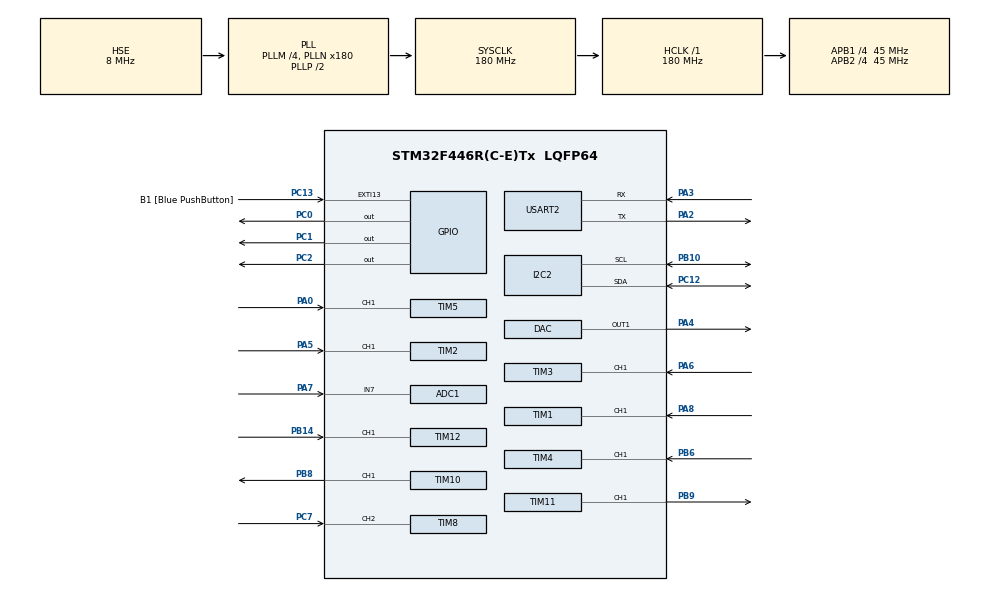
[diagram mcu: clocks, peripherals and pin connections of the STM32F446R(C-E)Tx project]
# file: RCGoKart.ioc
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ADC1.Channel-3\#ChannelRegularConversion=ADC_CHANNEL_7
ADC1.ContinuousConvMode=ENABLE
ADC1.DMAContinuousRequests=ENABLE
ADC1.NbrOfConversion=1
ADC1.NbrOfConversionFlag=1
ADC1.Rank-3\#ChannelRegularConversion=1
ADC1.SamplingTime-3\#ChannelRegularConversion=ADC_SAMPLETIME_3CYCLES
ADC1.ScanConvMode=ENABLE
ADC1.master=1
Dma.ADC1.0.Direction=DMA_PERIPH_TO_MEMORY
Dma.ADC1.0.FIFOMode=DMA_FIFOMODE_DISABLE
Dma.ADC1.0.Instance=DMA2_Stream0
Dma.ADC1.0.MemDataAlignment=DMA_MDATAALIGN_HALFWORD
Dma.ADC1.0.MemInc=DMA_MINC_ENABLE
Dma.ADC1.0.Mode=DMA_CIRCULAR
Dma.ADC1.0.PeriphDataAlignment=DMA_PDATAALIGN_HALFWORD
Dma.ADC1.0.PeriphInc=DMA_PINC_DISABLE
Dma.ADC1.0.Priority=DMA_PRIORITY_LOW
Dma.Request0=ADC1
Mcu.Family=STM32F4
Mcu.Name=STM32F446R(C-E)Tx
Mcu.Package=LQFP64
NVIC.ADC_IRQn=true\:0\:0\:false\:false\:true\:true\:true\:true
NVIC.DMA2_Stream0_IRQn=true\:0\:0\:false\:false\:true\:false\:true\:true
NVIC.PriorityGroup=NVIC_PRIORITYGROUP_0
NVIC.TIM2_IRQn=true\:0\:0\:false\:false\:true\:true\:true\:true
NVIC.TIM3_IRQn=true\:0\:0\:false\:false\:true\:true\:true\:true
PA0-WKUP.Signal=S_TIM5_CH1
PA13.GPIO_Label=TMS
PA13.Mode=Serial_Wire
PA13.Signal=SYS_JTMS-SWDIO
PA14.GPIO_Label=TCK
PA14.Mode=Serial_Wire
PA14.Signal=SYS_JTCK-SWCLK
PA2.Mode=Asynchronous
PA2.Signal=USART2_TX
PA3.Mode=Asynchronous
PA3.Signal=USART2_RX
PA4.Signal=COMP_DAC1_group
PA5.Signal=S_TIM2_CH1_ETR
PA6.Signal=S_TIM3_CH1
PA7.Signal=ADCx_IN7
PA8.Signal=S_TIM1_CH1
PB10.Mode=I2C
PB10.Signal=I2C2_SCL
PB14.Signal=S_TIM12_CH1
PB3.GPIO_Label=SWO
PB3.Signal=SYS_JTDO-SWO
PB6.Signal=S_TIM4_CH1
PB8.Signal=S_TIM10_CH1
PB9.Signal=S_TIM11_CH1
PC0.GPIO_Speed=GPIO_SPEED_FREQ_VERY_HIGH
PC0.Signal=GPIO_Output
PC1.GPIO_Speed=GPIO_SPEED_FREQ_VERY_HIGH
PC1.Signal=GPIO_Output
PC12.Mode=I2C
PC12.Signal=I2C2_SDA
PC13.GPIO_Label=B1 [Blue PushButton]
PC13.GPIO_ModeDefaultEXTI=GPIO_MODE_IT_FALLING
PC13.Signal=GPXTI13
PC14-OSC32_IN.Mode=LSE-External-Oscillator
PC14-OSC32_IN.Signal=RCC_OSC32_IN
PC15-OSC32_OUT.Mode=LSE-External-Oscillator
PC15-OSC32_OUT.Signal=RCC_OSC32_OUT
PC2.GPIO_Speed=GPIO_SPEED_FREQ_VERY_HIGH
PC2.Signal=GPIO_Output
PC7.Signal=S_TIM8_CH2
PH0-OSC_IN.Mode=HSE-External-Oscillator
PH0-OSC_IN.Signal=RCC_OSC_IN
PH1-OSC_OUT.Mode=HSE-External-Oscillator
PH1-OSC_OUT.Signal=RCC_OSC_OUT
ProjectManager.HeapSize=0x200
ProjectManager.StackSize=0x400
ProjectManager.TargetToolchain=STM32CubeIDE
RCC.48MHZClocksFreq_Value=84000000
RCC.AHBFreq_Value=180000000
RCC.APB1CLKDivider=RCC_HCLK_DIV4
RCC.APB1Freq_Value=45000000
RCC.APB1TimFreq_Value=90000000
RCC.APB2CLKDivider=RCC_HCLK_DIV4
RCC.APB2Freq_Value=45000000
RCC.APB2TimFreq_Value=90000000
RCC.CortexFreq_Value=180000000
RCC.FLatency-AdvancedSettings=FLASH_LATENCY_5
RCC.HCLKFreq_Value=180000000
RCC.HSE_VALUE=8000000
RCC.HSI_VALUE=16000000
RCC.PLLM=4
RCC.PLLN=180
RCC.PLLSourceVirtual=RCC_PLLSOURCE_HSE
RCC.SYSCLKFreq_VALUE=180000000
RCC.SYSCLKSource=RCC_SYSCLKSOURCE_PLLCLK
RCC.USBFreq_Value=180000000
RCC.VCOOutputFreq_Value=360000000
SH.ADCx_IN7.0=ADC1_IN7,IN7
SH.COMP_DAC1_group.0=DAC_OUT1,DAC_OUT1
SH.S_TIM10_CH1.0=TIM10_CH1,PWM Generation1 CH1
SH.S_TIM11_CH1.0=TIM11_CH1,PWM Generation1 CH1
SH.S_TIM12_CH1.0=TIM12_CH1,PWM_Input_1
SH.S_TIM1_CH1.0=TIM1_CH1,PWM_Input_1
SH.S_TIM2_CH1_ETR.0=TIM2_CH1,PWM_Input_1
SH.S_TIM3_CH1.0=TIM3_CH1,PWM_Input_1
SH.S_TIM4_CH1.0=TIM4_CH1,PWM_Input_1
SH.S_TIM5_CH1.0=TIM5_CH1,PWM_Input_1
SH.S_TIM8_CH2.0=TIM8_CH2,PWM_Input_2
TIM10.Channel=TIM_CHANNEL_1
TIM10.Period=1800-1
TIM10.Prescaler=999
TIM11.Channel=TIM_CHANNEL_1
TIM11.Period=1800-1
TIM12.ClockDivision=TIM_CLOCKDIVISION_DIV2
TIM12.Prescaler=16
TIM3.ClockDivision=TIM_CLOCKDIVISION_DIV1
TIM3.ICFilter_2=0
TIM3.Period=65535
TIM3.Prescaler=0
USART2.VirtualMode=VM_ASYNC
VP_RTC_VS_RTC_Activate.Mode=RTC_Enabled
VP_RTC_VS_RTC_WakeUp_intern.Mode=WakeUp
VP_TIM10_VS_ClockSourceINT.Mode=Enable_Timer
VP_TIM11_VS_ClockSourceINT.Mode=Enable_Timer
VP_TIM12_VS_ClockSourceINT.Mode=Internal
VP_TIM1_VS_ClockSourceINT.Mode=Internal
VP_TIM2_VS_ClockSourceINT.Mode=Internal
VP_TIM3_VS_ClockSourceINT.Mode=Internal
VP_TIM4_VS_ClockSourceINT.Mode=Internal
VP_TIM5_VS_ClockSourceINT.Mode=Internal
VP_TIM8_VS_ClockSourceINT.Mode=Internal
board=NUCLEO-F446RE

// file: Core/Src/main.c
/* USER CODE BEGIN Header */
/**
  ******************************************************************************
  * @file           : main.c
  * @brief          : Main program body
  ******************************************************************************
  * @attention
  *
  * Copyright (c) 2023 STMicroelectronics.
  * All rights reserved.
  *
  * This software is licensed under terms that can be found in the LICENSE file
  * in the root directory of this software component.
  * If no LICENSE file comes with this software, it is provided AS-IS.
  *
  ******************************************************************************
  */
/* USER CODE END Header */
#include "main.h"

/* USER CODE BEGIN Includes */
#include <stdio.h>
#include <stdbool.h>
/* USER CODE END Includes */

/* USER CODE BEGIN PD */

#define PUTCHAR_PROTOTYPE int __io_putchar(int ch)
/* USER CODE END PD */

ADC_HandleTypeDef hadc1;
DMA_HandleTypeDef hdma_adc1;

DAC_HandleTypeDef hdac;

I2C_HandleTypeDef hi2c2;

RTC_HandleTypeDef hrtc;

TIM_HandleTypeDef htim1;
TIM_HandleTypeDef htim2;
TIM_HandleTypeDef htim3;
TIM_HandleTypeDef htim4;
TIM_HandleTypeDef htim5;
TIM_HandleTypeDef htim8;
TIM_HandleTypeDef htim10;
TIM_HandleTypeDef htim11;
TIM_HandleTypeDef htim12;

UART_HandleTypeDef huart2;

/* USER CODE BEGIN PV */

const float kSteeringEncoderMax = 43000.0;
const float kSteeringEncoderMin = 14000.0;
const float kSteeringEncoderRange = 64000.0;

const int maxEncoderAngle = 347;
const int minEncoderAngle = 167;
const int EncoderRange = maxEncoderAngle-minEncoderAngle;//180

const double kOffset = .45;

float kHalDelay = 1;

float maxSpeed = .25;//Range from 0 to 1

//TODO: convert to const once tuned
float kPInverse = 20;
float kP = 0.025;//1/20
float kI = 0.0000001;
float kD = 1;

float error;
float derivative;
float integral = 0;
float pos = 0;
float pastError = 0;
float minError = 0.1;

uint32_t brakePosition = 0;
uint32_t buffer = 0;
/* USER CODE END PV */

void SystemClock_Config(void);
static void MX_GPIO_Init(void);
static void MX_DMA_Init(void);
static void MX_ADC1_Init(void);
static void MX_TIM1_Init(void);
static void MX_TIM2_Init(void);
static void MX_TIM3_Init(void);
static void MX_TIM4_Init(void);
static void MX_TIM5_Init(void);
static void MX_TIM8_Init(void);
static void MX_TIM10_Init(void);
static void MX_TIM11_Init(void);
static void MX_TIM12_Init(void);
static void MX_RTC_Init(void);
static void MX_I2C2_Init(void);
static void MX_USART2_UART_Init(void);
static void MX_DAC_Init(void);

/* USER CODE BEGIN 0 */

uint32_t ICValue = 0;
uint32_t Frequency = 0;
float Duty = 0;
void HAL_TIM_IC_CaptureCallback(TIM_HandleTypeDef *htim)
{
	if (htim->Channel == HAL_TIM_ACTIVE_CHANNEL_1)  // If the interrupt is triggered by channel 1
	{
		// Read the IC value
		ICValue = HAL_TIM_ReadCapturedValue(htim, TIM_CHANNEL_1);

		if (ICValue != 0)
		{
			// calculate the Duty Cycle
			Duty = (HAL_TIM_ReadCapturedValue(htim, TIM_CHANNEL_2) *100)/ICValue;

			Frequency = 90000000/ICValue;
		}
	}
}

float currentSteeringInputMax = 177900;
float currentSteeringInputMin = 90000;
float currentDrivingInputMax = 8935;
float currentDrivingInputMin = 7935;

const float steeringInputAbsoluteMax = 180000;
const float steeringInputAbsoluteMin = 80000;
const float drivingInputAbsoluteMax = 180000;
const float drivingInputAbsoluteMin = 80000;

uint16_t targetBrake = 4095;

float steeringInput(uint32_t rawSteeringInput){
	if(rawSteeringInput > currentSteeringInputMax && rawSteeringInput < steeringInputAbsoluteMax){
		currentSteeringInputMax = rawSteeringInput;
	}
	if(rawSteeringInput < currentSteeringInputMin && rawSteeringInput > steeringInputAbsoluteMin){
		currentSteeringInputMin = rawSteeringInput;
	}
	return (float)(rawSteeringInput-currentSteeringInputMin)/(currentSteeringInputMax-currentSteeringInputMin);
}

float drivingInput(uint32_t rawDrivingInput){
	if(rawDrivingInput > currentDrivingInputMax && rawDrivingInput < drivingInputAbsoluteMax){
		currentDrivingInputMax = rawDrivingInput;
	}
	if(rawDrivingInput < currentDrivingInputMin && rawDrivingInput > drivingInputAbsoluteMin){
		return 0.0;
	}
	return (float)(rawDrivingInput-currentDrivingInputMin)/(currentDrivingInputMax-currentDrivingInputMin);
}

//TODO: Yet to be tested:
float getPIDPower(float currentPosition, float requestPosition, float cycleTime){//New version:
	if(currentPosition<110){
		currentPosition = currentPosition+360;
	}
	error = requestPosition-currentPosition;
	if((error>minError||-minError>error)||(pastError>minError||-minError>pastError)){
		integral = integral + (error * cycleTime);
		derivative = (error-pastError)/cycleTime;
		pastError = error;
		pos = kP*error+kI*integral+kD*derivative+kOffset;
		if(pos>1){
			return 1;
		}
		else if(pos<0){
			return 0;
		}
		else{
			return pos;
		}
	}
	else{
		integral = 0;
		return .5;
	}
}

float getEncoderAngle(){
	return (((int)(36000*((TIM3->CCR2-kSteeringEncoderMin)/(kSteeringEncoderRange)))+18000)%36000)/100;
}

float rawSteeringToAngle(float steerInput){
	return (steerInput*EncoderRange)+minEncoderAngle;
}
float steerout = 0;
float steeroutp = 0;

/**
 * Sets the steering motor's power
 */
void setSteeringMotor(float power){
		steeroutp = power;
		float out = (power)*180.0;//Converts the range 0 to 1, to 90 to 180 //Dont ask why its that range it just works
		steerout = out;
		TIM10->CCR1 = out+45.0;
}
/**
 * Sets the driving motor's power
 */
void setDrivingMotor(float power){
	short int out = (power)*4096;//convert to 3.3v range
	o = out;
	if(power<=0){
		 HAL_DAC_SetValue(&hdac, DAC_CHANNEL_1,
		 DAC_ALIGN_12B_R, 0);//Motor off
	}
	else{
		 HAL_DAC_SetValue(&hdac, DAC_CHANNEL_1,
		 DAC_ALIGN_12B_R, out);//Motor on
	}
}

void setMotor(float power){//0 to 1.0
		 HAL_DAC_SetValue(&hdac, DAC_CHANNEL_1,
		 DAC_ALIGN_12B_R, power);
}

short int bstate = 0;
/**
 * Sets the brake motors power
 */
void setBrakes(){
    HAL_ADC_Start(&hadc1);
    HAL_ADC_PollForConversion(&hadc1, 500);
	brakePosition = HAL_ADC_GetValue(&hadc1);
    HAL_ADC_Stop(&hadc1);
	bstate = 0;
	if(brakePosition+5>targetBrake&&brakePosition-5<targetBrake){
		HAL_GPIO_WritePin(GPIOC, GPIO_PIN_2, GPIO_PIN_RESET);
		HAL_GPIO_WritePin(GPIOC, GPIO_PIN_1, GPIO_PIN_RESET);
		bstate = 2;
	}
	else if(brakePosition>targetBrake){
		HAL_GPIO_WritePin(GPIOC, GPIO_PIN_2, GPIO_PIN_SET);
		HAL_GPIO_WritePin(GPIOC, GPIO_PIN_1, GPIO_PIN_RESET);
		bstate = 0;
	}
	else if(brakePosition<targetBrake-100){
		HAL_GPIO_WritePin(GPIOC, GPIO_PIN_2, GPIO_PIN_RESET);
		HAL_GPIO_WritePin(GPIOC, GPIO_PIN_1, GPIO_PIN_SET);
		bstate = 1;
	}
	else{
		HAL_GPIO_WritePin(GPIOC, GPIO_PIN_2, GPIO_PIN_RESET);
		HAL_GPIO_WritePin(GPIOC, GPIO_PIN_1, GPIO_PIN_RESET);
		bstate = 2;
	}
}

void setBrakeTarget(int request){
	if(request>7935){
		targetBrake = 4095;
	}
	else{
		targetBrake = ((request-5300)*.093)+3850;
	}
	if(targetBrake < 3850){
		targetBrake  = 3850;
	}
}

float tim1 = 0;
float tim2 = 0;
float tim3 = 0;
float tim4 = 0;
float tim5 = 0;
float tim6 = 0;
float tim7 = 0;
float tim8 = 0;
float tim9 = 0;
float tim10 = 0;
float tim11 = 0;
float tim12 = 0;
float a = 0;
float b = 0;
int cycle = 0;
int cycleCount = 5;
uint32_t steeringRequest = (steeringInputAbsoluteMin+steeringInputAbsoluteMax/2);
uint32_t drivingRequest = 0;
/* USER CODE END 0 */

int main(void)
{
  /* USER CODE BEGIN 1 */
	hdac.State = HAL_DAC_STATE_RESET;
  /* USER CODE END 1 */

  /* MCU Configuration--------------------------------------------------------*/

  /* Reset of all peripherals, Initializes the Flash interface and the Systick. */
  HAL_Init();

  /* USER CODE BEGIN Init */
  uint16_t pwmBottomState = 5000;
  uint16_t pwmLowState = 25000;
  uint16_t pwmHighState = 45000;
  /* USER CODE END Init */

  /* Configure the system clock */
  SystemClock_Config();

  /* USER CODE BEGIN SysInit */
//  RCC->AHB1ENR |= (1<<0);
  /* USER CODE END SysInit */

  /* Initialize all configured peripherals */
  MX_GPIO_Init();
  MX_DMA_Init();
  MX_ADC1_Init();
  MX_TIM1_Init();
  MX_TIM2_Init();
  MX_TIM3_Init();
  MX_TIM4_Init();
  MX_TIM5_Init();
  MX_TIM8_Init();
  MX_TIM10_Init();
  MX_TIM11_Init();
  MX_TIM12_Init();
  MX_RTC_Init();
  MX_I2C2_Init();
  MX_USART2_UART_Init();
  MX_DAC_Init();
  /* USER CODE BEGIN 2 */
  //Starts HAL timing for input capture
  HAL_TIM_IC_Start_IT(&htim1, TIM_CHANNEL_1);
  HAL_TIM_IC_Start(&htim1, TIM_CHANNEL_2);
  HAL_TIM_IC_Start_IT(&htim2, TIM_CHANNEL_1);
  HAL_TIM_IC_Start(&htim2, TIM_CHANNEL_2);
  HAL_TIM_IC_Start_IT(&htim3, TIM_CHANNEL_1);
  HAL_TIM_IC_Start(&htim3, TIM_CHANNEL_2);
  HAL_TIM_IC_Start_IT(&htim4, TIM_CHANNEL_1);
  HAL_TIM_IC_Start(&htim4, TIM_CHANNEL_2);
  HAL_TIM_IC_Start_IT(&htim5, TIM_CHANNEL_1);
  HAL_TIM_IC_Start(&htim5, TIM_CHANNEL_2);
  HAL_TIM_IC_Start_IT(&htim8, TIM_CHANNEL_1);
  HAL_TIM_IC_Start(&htim8, TIM_CHANNEL_2);
  HAL_TIM_IC_Start_IT(&htim8, TIM_CHANNEL_1);
  HAL_TIM_IC_Start(&htim8, TIM_CHANNEL_2);
  HAL_TIM_IC_Start_IT(&htim12, TIM_CHANNEL_1);
  HAL_TIM_IC_Start(&htim12, TIM_CHANNEL_2);

  HAL_TIM_PWM_Start(&htim10, TIM_CHANNEL_1);
  HAL_TIM_PWM_Start(&htim11, TIM_CHANNEL_1);
  HAL_DAC_Start(&hdac, DAC_CHANNEL_1);
  /* USER CODE END 2 */

  /* Infinite loop */
  while (1)
  {

    /* USER CODE BEGIN 3 */
	  tim1 = TIM1->CCR2;
	  tim2 = TIM2->CCR2;
	  tim3 = TIM3->CCR2;
	  tim4 = TIM4->CCR2;
	  tim5 = TIM5->CCR2;
	  tim6 = TIM6->CCR2;
	  tim7 = TIM7->CCR2;
	  tim8 = TIM8->CCR2;
	  tim9 = TIM9->CCR2;
	  tim10 = TIM10->CCR1;
	  tim11 = TIM11->CCR1;
	  tim12 = TIM12->CCR2;
	  if(TIM4->CCR2>pwmLowState){//Checking if E-Stop is switched to the high state, forces user on RC controller to switch the e-stop switch to start it
		  //Inputs
		  steeringRequest = tim2;
		  drivingRequest = tim12;
		  b = steeringInput(steeringRequest);
		  //State management
		  if(TIM1->CCR2<pwmBottomState){//Switch to RC mode, middle switch state
			  setSteeringMotor(getPIDPower(getEncoderAngle(), rawSteeringToAngle(b), (float)kHalDelay));
			  setDrivingMotor(drivingInput(drivingRequest));
			  setBrakeTarget(tim12);

		  }
		  else if(TIM1->CCR2>pwmHighState){//Switch to auto mode, high switch state
//			  Manual RC Control
			  setSteeringMotor(b);
			  setDrivingMotor(drivingInput(drivingRequest));
			  setBrakeTarget(tim12);
		  }
		  else{
			  //off state, low switch state
			setMotor(0.0);
			targetBrake = 3850;//Full Brakes
		  }
		  HAL_Delay(1);//For faster response decrease delay
		  setBrakes();
	  }
	  else{
		  //TODO: Debug Relay
			HAL_GPIO_WritePin(GPIOC, GPIO_PIN_2, GPIO_PIN_RESET);
			HAL_GPIO_WritePin(GPIOC, GPIO_PIN_1, GPIO_PIN_RESET);
			setMotor(0.0);
			setSteeringMotor(0.5);
	  }
  }
  /* USER CODE END 3 */
}

void SystemClock_Config(void)
{
  RCC_OscInitTypeDef RCC_OscInitStruct = {0};
  RCC_ClkInitTypeDef RCC_ClkInitStruct = {0};

  /** Configure the main internal regulator output voltage
  */
  __HAL_RCC_PWR_CLK_ENABLE();
  __HAL_PWR_VOLTAGESCALING_CONFIG(PWR_REGULATOR_VOLTAGE_SCALE1);

  /** Initializes the RCC Oscillators according to the specified parameters
  * in the RCC_OscInitTypeDef structure.
  */
  RCC_OscInitStruct.OscillatorType = RCC_OSCILLATORTYPE_LSI|RCC_OSCILLATORTYPE_HSE;
  RCC_OscInitStruct.HSEState = RCC_HSE_ON;
  RCC_OscInitStruct.LSEState = RCC_LSE_ON;
  RCC_OscInitStruct.LSIState = RCC_LSI_ON;
  RCC_OscInitStruct.PLL.PLLState = RCC_PLL_ON;
  RCC_OscInitStruct.PLL.PLLSource = RCC_PLLSOURCE_HSE;
  RCC_OscInitStruct.PLL.PLLM = 4;
  RCC_OscInitStruct.PLL.PLLN = 180;
  RCC_OscInitStruct.PLL.PLLP = RCC_PLLP_DIV2;
  RCC_OscInitStruct.PLL.PLLQ = 2;
  RCC_OscInitStruct.PLL.PLLR = 2;
  if (HAL_RCC_OscConfig(&RCC_OscInitStruct) != HAL_OK)
  {
    Error_Handler();
  }

  /** Activate the Over-Drive mode
  */
  if (HAL_PWREx_EnableOverDrive() != HAL_OK)
  {
    Error_Handler();
  }

  /** Initializes the CPU, AHB and APB buses clocks
  */
  RCC_ClkInitStruct.ClockType = RCC_CLOCKTYPE_HCLK|RCC_CLOCKTYPE_SYSCLK
                              |RCC_CLOCKTYPE_PCLK1|RCC_CLOCKTYPE_PCLK2;
  RCC_ClkInitStruct.SYSCLKSource = RCC_SYSCLKSOURCE_PLLCLK;
  RCC_ClkInitStruct.AHBCLKDivider = RCC_SYSCLK_DIV1;
  RCC_ClkInitStruct.APB1CLKDivider = RCC_HCLK_DIV4;
  RCC_ClkInitStruct.APB2CLKDivider = RCC_HCLK_DIV4;

  if (HAL_RCC_ClockConfig(&RCC_ClkInitStruct, FLASH_LATENCY_5) != HAL_OK)
  {
    Error_Handler();
  }
}

static void MX_ADC1_Init(void)
{

  ADC_ChannelConfTypeDef sConfig = {0};

  /** Configure the global features of the ADC (Clock, Resolution, Data Alignment and number of conversion)
  */
  hadc1.Instance = ADC1;
  hadc1.Init.ClockPrescaler = ADC_CLOCK_SYNC_PCLK_DIV2;
  hadc1.Init.Resolution = ADC_RESOLUTION_12B;
  hadc1.Init.ScanConvMode = ENABLE;
  hadc1.Init.ContinuousConvMode = ENABLE;
  hadc1.Init.DiscontinuousConvMode = DISABLE;
  hadc1.Init.ExternalTrigConvEdge = ADC_EXTERNALTRIGCONVEDGE_NONE;
  hadc1.Init.ExternalTrigConv = ADC_SOFTWARE_START;
  hadc1.Init.DataAlign = ADC_DATAALIGN_RIGHT;
  hadc1.Init.NbrOfConversion = 1;
  hadc1.Init.DMAContinuousRequests = ENABLE;
  hadc1.Init.EOCSelection = ADC_EOC_SINGLE_CONV;
  if (HAL_ADC_Init(&hadc1) != HAL_OK)
  {
    Error_Handler();
  }

  /** Configure for the selected ADC regular channel its corresponding rank in the sequencer and its sample time.
  */
  sConfig.Channel = ADC_CHANNEL_7;
  sConfig.Rank = 1;
  sConfig.SamplingTime = ADC_SAMPLETIME_3CYCLES;
  if (HAL_ADC_ConfigChannel(&hadc1, &sConfig) != HAL_OK)
  {
    Error_Handler();
  }

}

static void MX_DAC_Init(void)
{

  DAC_ChannelConfTypeDef sConfig = {0};

  /** DAC Initialization
  */
  hdac.Instance = DAC;
  if (HAL_DAC_Init(&hdac) != HAL_OK)
  {
    Error_Handler();
  }

  /** DAC channel OUT1 config
  */
  sConfig.DAC_Trigger = DAC_TRIGGER_NONE;
  sConfig.DAC_OutputBuffer = DAC_OUTPUTBUFFER_ENABLE;
  if (HAL_DAC_ConfigChannel(&hdac, &sConfig, DAC_CHANNEL_1) != HAL_OK)
  {
    Error_Handler();
  }

}

static void MX_I2C2_Init(void)
{

  hi2c2.Instance = I2C2;
  hi2c2.Init.ClockSpeed = 100000;
  hi2c2.Init.DutyCycle = I2C_DUTYCYCLE_2;
  hi2c2.Init.OwnAddress1 = 0;
  hi2c2.Init.AddressingMode = I2C_ADDRESSINGMODE_7BIT;
  hi2c2.Init.DualAddressMode = I2C_DUALADDRESS_DISABLE;
  hi2c2.Init.OwnAddress2 = 0;
  hi2c2.Init.GeneralCallMode = I2C_GENERALCALL_DISABLE;
  hi2c2.Init.NoStretchMode = I2C_NOSTRETCH_DISABLE;
  if (HAL_I2C_Init(&hi2c2) != HAL_OK)
  {
    Error_Handler();
  }

}

static void MX_RTC_Init(void)
{

  RTC_TimeTypeDef sTime = {0};
  RTC_DateTypeDef sDate = {0};

  /** Initialize RTC Only
  */
  hrtc.Instance = RTC;
  hrtc.Init.HourFormat = RTC_HOURFORMAT_24;
  hrtc.Init.AsynchPrediv = 127;
  hrtc.Init.SynchPrediv = 255;
  hrtc.Init.OutPut = RTC_OUTPUT_DISABLE;
  hrtc.Init.OutPutPolarity = RTC_OUTPUT_POLARITY_HIGH;
  hrtc.Init.OutPutType = RTC_OUTPUT_TYPE_OPENDRAIN;
  if (HAL_RTC_Init(&hrtc) != HAL_OK)
  {
    Error_Handler();
  }

  /** Initialize RTC and set the Time and Date
  */
  sTime.Hours = 0x0;
  sTime.Minutes = 0x0;
  sTime.Seconds = 0x0;
  sTime.DayLightSaving = RTC_DAYLIGHTSAVING_NONE;
  sTime.StoreOperation = RTC_STOREOPERATION_RESET;
  if (HAL_RTC_SetTime(&hrtc, &sTime, RTC_FORMAT_BCD) != HAL_OK)
  {
    Error_Handler();
  }
  sDate.WeekDay = RTC_WEEKDAY_MONDAY;
  sDate.Month = RTC_MONTH_JANUARY;
  sDate.Date = 0x1;
  sDate.Year = 0x0;

  if (HAL_RTC_SetDate(&hrtc, &sDate, RTC_FORMAT_BCD) != HAL_OK)
  {
    Error_Handler();
  }

  /** Enable the WakeUp
  */
  if (HAL_RTCEx_SetWakeUpTimer(&hrtc, 0, RTC_WAKEUPCLOCK_RTCCLK_DIV16) != HAL_OK)
  {
    Error_Handler();
  }

}

static void MX_TIM1_Init(void)
{

  TIM_ClockConfigTypeDef sClockSourceConfig = {0};
  TIM_SlaveConfigTypeDef sSlaveConfig = {0};
  TIM_IC_InitTypeDef sConfigIC = {0};
  TIM_MasterConfigTypeDef sMasterConfig = {0};

  htim1.Instance = TIM1;
  htim1.Init.Prescaler = 0;
  htim1.Init.CounterMode = TIM_COUNTERMODE_UP;
  htim1.Init.Period = 65535;
  htim1.Init.ClockDivision = TIM_CLOCKDIVISION_DIV1;
  htim1.Init.RepetitionCounter = 0;
  htim1.Init.AutoReloadPreload = TIM_AUTORELOAD_PRELOAD_DISABLE;
  if (HAL_TIM_Base_Init(&htim1) != HAL_OK)
  {
    Error_Handler();
  }
  sClockSourceConfig.ClockSource = TIM_CLOCKSOURCE_INTERNAL;
  if (HAL_TIM_ConfigClockSource(&htim1, &sClockSourceConfig) != HAL_OK)
  {
    Error_Handler();
  }
  if (HAL_TIM_IC_Init(&htim1) != HAL_OK)
  {
    Error_Handler();
  }
  sSlaveConfig.SlaveMode = TIM_SLAVEMODE_RESET;
  sSlaveConfig.InputTrigger = TIM_TS_TI1FP1;
  sSlaveConfig.TriggerPolarity = TIM_INPUTCHANNELPOLARITY_RISING;
  sSlaveConfig.TriggerPrescaler = TIM_ICPSC_DIV1;
  sSlaveConfig.TriggerFilter = 0;
  if (HAL_TIM_SlaveConfigSynchro(&htim1, &sSlaveConfig) != HAL_OK)
  {
    Error_Handler();
  }
  sConfigIC.ICPolarity = TIM_INPUTCHANNELPOLARITY_RISING;
  sConfigIC.ICSelection = TIM_ICSELECTION_DIRECTTI;
  sConfigIC.ICPrescaler = TIM_ICPSC_DIV1;
  sConfigIC.ICFilter = 0;
  if (HAL_TIM_IC_ConfigChannel(&htim1, &sConfigIC, TIM_CHANNEL_1) != HAL_OK)
  {
    Error_Handler();
  }
  sConfigIC.ICPolarity = TIM_INPUTCHANNELPOLARITY_FALLING;
  sConfigIC.ICSelection = TIM_ICSELECTION_INDIRECTTI;
  if (HAL_TIM_IC_ConfigChannel(&htim1, &sConfigIC, TIM_CHANNEL_2) != HAL_OK)
  {
    Error_Handler();
  }
  sMasterConfig.MasterOutputTrigger = TIM_TRGO_RESET;
  sMasterConfig.MasterSlaveMode = TIM_MASTERSLAVEMODE_DISABLE;
  if (HAL_TIMEx_MasterConfigSynchronization(&htim1, &sMasterConfig) != HAL_OK)
  {
    Error_Handler();
  }

}

static void MX_TIM2_Init(void)
{

  TIM_ClockConfigTypeDef sClockSourceConfig = {0};
  TIM_SlaveConfigTypeDef sSlaveConfig = {0};
  TIM_IC_InitTypeDef sConfigIC = {0};
  TIM_MasterConfigTypeDef sMasterConfig = {0};

  htim2.Instance = TIM2;
  htim2.Init.Prescaler = 0;
  htim2.Init.CounterMode = TIM_COUNTERMODE_UP;
  htim2.Init.Period = 4294967295;
  htim2.Init.ClockDivision = TIM_CLOCKDIVISION_DIV1;
  htim2.Init.AutoReloadPreload = TIM_AUTORELOAD_PRELOAD_DISABLE;
  if (HAL_TIM_Base_Init(&htim2) != HAL_OK)
  {
    Error_Handler();
  }
  sClockSourceConfig.ClockSource = TIM_CLOCKSOURCE_INTERNAL;
  if (HAL_TIM_ConfigClockSource(&htim2, &sClockSourceConfig) != HAL_OK)
  {
    Error_Handler();
  }
  if (HAL_TIM_IC_Init(&htim2) != HAL_OK)
  {
    Error_Handler();
  }
  sSlaveConfig.SlaveMode = TIM_SLAVEMODE_RESET;
  sSlaveConfig.InputTrigger = TIM_TS_TI1FP1;
  sSlaveConfig.TriggerPolarity = TIM_INPUTCHANNELPOLARITY_RISING;
  sSlaveConfig.TriggerPrescaler = TIM_ICPSC_DIV1;
  sSlaveConfig.TriggerFilter = 0;
  if (HAL_TIM_SlaveConfigSynchro(&htim2, &sSlaveConfig) != HAL_OK)
  {
    Error_Handler();
  }
  sConfigIC.ICPolarity = TIM_INPUTCHANNELPOLARITY_RISING;
  sConfigIC.ICSelection = TIM_ICSELECTION_DIRECTTI;
  sConfigIC.ICPrescaler = TIM_ICPSC_DIV1;
  sConfigIC.ICFilter = 0;
  if (HAL_TIM_IC_ConfigChannel(&htim2, &sConfigIC, TIM_CHANNEL_1) != HAL_OK)
  {
    Error_Handler();
  }
  sConfigIC.ICPolarity = TIM_INPUTCHANNELPOLARITY_FALLING;
  sConfigIC.ICSelection = TIM_ICSELECTION_INDIRECTTI;
  if (HAL_TIM_IC_ConfigChannel(&htim2, &sConfigIC, TIM_CHANNEL_2) != HAL_OK)
  {
    Error_Handler();
  }
  sMasterConfig.MasterOutputTrigger = TIM_TRGO_RESET;
  sMasterConfig.MasterSlaveMode = TIM_MASTERSLAVEMODE_DISABLE;
  if (HAL_TIMEx_MasterConfigSynchronization(&htim2, &sMasterConfig) != HAL_OK)
  {
    Error_Handler();
  }

}

static void MX_TIM3_Init(void)
{

  TIM_ClockConfigTypeDef sClockSourceConfig = {0};
  TIM_SlaveConfigTypeDef sSlaveConfig = {0};
  TIM_IC_InitTypeDef sConfigIC = {0};
  TIM_MasterConfigTypeDef sMasterConfig = {0};

  htim3.Instance = TIM3;
  htim3.Init.Prescaler = 0;
  htim3.Init.CounterMode = TIM_COUNTERMODE_UP;
  htim3.Init.Period = 65535;
  htim3.Init.ClockDivision = TIM_CLOCKDIVISION_DIV1;
  htim3.Init.AutoReloadPreload = TIM_AUTORELOAD_PRELOAD_DISABLE;
  if (HAL_TIM_Base_Init(&htim3) != HAL_OK)
  {
    Error_Handler();
  }
  sClockSourceConfig.ClockSource = TIM_CLOCKSOURCE_INTERNAL;
  if (HAL_TIM_ConfigClockSource(&htim3, &sClockSourceConfig) != HAL_OK)
  {
    Error_Handler();
  }
  if (HAL_TIM_IC_Init(&htim3) != HAL_OK)
  {
    Error_Handler();
  }
  sSlaveConfig.SlaveMode = TIM_SLAVEMODE_RESET;
  sSlaveConfig.InputTrigger = TIM_TS_TI1FP1;
  sSlaveConfig.TriggerPolarity = TIM_INPUTCHANNELPOLARITY_RISING;
  sSlaveConfig.TriggerPrescaler = TIM_ICPSC_DIV1;
  sSlaveConfig.TriggerFilter = 0;
  if (HAL_TIM_SlaveConfigSynchro(&htim3, &sSlaveConfig) != HAL_OK)
  {
    Error_Handler();
  }
  sConfigIC.ICPolarity = TIM_INPUTCHANNELPOLARITY_RISING;
  sConfigIC.ICSelection = TIM_ICSELECTION_DIRECTTI;
  sConfigIC.ICPrescaler = TIM_ICPSC_DIV1;
  sConfigIC.ICFilter = 0;
  if (HAL_TIM_IC_ConfigChannel(&htim3, &sConfigIC, TIM_CHANNEL_1) != HAL_OK)
  {
    Error_Handler();
  }
  sConfigIC.ICPolarity = TIM_INPUTCHANNELPOLARITY_FALLING;
  sConfigIC.ICSelection = TIM_ICSELECTION_INDIRECTTI;
  if (HAL_TIM_IC_ConfigChannel(&htim3, &sConfigIC, TIM_CHANNEL_2) != HAL_OK)
  {
    Error_Handler();
  }
  sMasterConfig.MasterOutputTrigger = TIM_TRGO_RESET;
  sMasterConfig.MasterSlaveMode = TIM_MASTERSLAVEMODE_DISABLE;
  if (HAL_TIMEx_MasterConfigSynchronization(&htim3, &sMasterConfig) != HAL_OK)
  {
    Error_Handler();
  }

}

static void MX_TIM4_Init(void)
{

  TIM_ClockConfigTypeDef sClockSourceConfig = {0};
  TIM_SlaveConfigTypeDef sSlaveConfig = {0};
  TIM_IC_InitTypeDef sConfigIC = {0};
  TIM_MasterConfigTypeDef sMasterConfig = {0};

  htim4.Instance = TIM4;
  htim4.Init.Prescaler = 0;
  htim4.Init.CounterMode = TIM_COUNTERMODE_UP;
  htim4.Init.Period = 65535;
  htim4.Init.ClockDivision = TIM_CLOCKDIVISION_DIV1;
  htim4.Init.AutoReloadPreload = TIM_AUTORELOAD_PRELOAD_DISABLE;
  if (HAL_TIM_Base_Init(&htim4) != HAL_OK)
  {
    Error_Handler();
  }
  sClockSourceConfig.ClockSource = TIM_CLOCKSOURCE_INTERNAL;
  if (HAL_TIM_ConfigClockSource(&htim4, &sClockSourceConfig) != HAL_OK)
  {
    Error_Handler();
  }
  if (HAL_TIM_IC_Init(&htim4) != HAL_OK)
  {
    Error_Handler();
  }
  sSlaveConfig.SlaveMode = TIM_SLAVEMODE_RESET;
  sSlaveConfig.InputTrigger = TIM_TS_TI1FP1;
  sSlaveConfig.TriggerPolarity = TIM_INPUTCHANNELPOLARITY_RISING;
  sSlaveConfig.TriggerPrescaler = TIM_ICPSC_DIV1;
  sSlaveConfig.TriggerFilter = 0;
  if (HAL_TIM_SlaveConfigSynchro(&htim4, &sSlaveConfig) != HAL_OK)
  {
    Error_Handler();
  }
  sConfigIC.ICPolarity = TIM_INPUTCHANNELPOLARITY_RISING;
  sConfigIC.ICSelection = TIM_ICSELECTION_DIRECTTI;
  sConfigIC.ICPrescaler = TIM_ICPSC_DIV1;
  sConfigIC.ICFilter = 0;
  if (HAL_TIM_IC_ConfigChannel(&htim4, &sConfigIC, TIM_CHANNEL_1) != HAL_OK)
  {
    Error_Handler();
  }
  sConfigIC.ICPolarity = TIM_INPUTCHANNELPOLARITY_FALLING;
  sConfigIC.ICSelection = TIM_ICSELECTION_INDIRECTTI;
  if (HAL_TIM_IC_ConfigChannel(&htim4, &sConfigIC, TIM_CHANNEL_2) != HAL_OK)
  {
    Error_Handler();
  }
  sMasterConfig.MasterOutputTrigger = TIM_TRGO_RESET;
  sMasterConfig.MasterSlaveMode = TIM_MASTERSLAVEMODE_DISABLE;
  if (HAL_TIMEx_MasterConfigSynchronization(&htim4, &sMasterConfig) != HAL_OK)
  {
    Error_Handler();
  }

}

static void MX_TIM5_Init(void)
{

  TIM_ClockConfigTypeDef sClockSourceConfig = {0};
  TIM_SlaveConfigTypeDef sSlaveConfig = {0};
  TIM_IC_InitTypeDef sConfigIC = {0};
  TIM_MasterConfigTypeDef sMasterConfig = {0};

  htim5.Instance = TIM5;
  htim5.Init.Prescaler = 0;
  htim5.Init.CounterMode = TIM_COUNTERMODE_UP;
  htim5.Init.Period = 4294967295;
  htim5.Init.ClockDivision = TIM_CLOCKDIVISION_DIV1;
  htim5.Init.AutoReloadPreload = TIM_AUTORELOAD_PRELOAD_DISABLE;
  if (HAL_TIM_Base_Init(&htim5) != HAL_OK)
  {
    Error_Handler();
  }
  sClockSourceConfig.ClockSource = TIM_CLOCKSOURCE_INTERNAL;
  if (HAL_TIM_ConfigClockSource(&htim5, &sClockSourceConfig) != HAL_OK)
  {
    Error_Handler();
  }
  if (HAL_TIM_IC_Init(&htim5) != HAL_OK)
  {
    Error_Handler();
  }
  sSlaveConfig.SlaveMode = TIM_SLAVEMODE_RESET;
  sSlaveConfig.InputTrigger = TIM_TS_TI1FP1;
  sSlaveConfig.TriggerPolarity = TIM_INPUTCHANNELPOLARITY_RISING;
  sSlaveConfig.TriggerPrescaler = TIM_ICPSC_DIV1;
  sSlaveConfig.TriggerFilter = 0;
  if (HAL_TIM_SlaveConfigSynchro(&htim5, &sSlaveConfig) != HAL_OK)
  {
    Error_Handler();
  }
  sConfigIC.ICPolarity = TIM_INPUTCHANNELPOLARITY_RISING;
  sConfigIC.ICSelection = TIM_ICSELECTION_DIRECTTI;
  sConfigIC.ICPrescaler = TIM_ICPSC_DIV1;
  sConfigIC.ICFilter = 0;
  if (HAL_TIM_IC_ConfigChannel(&htim5, &sConfigIC, TIM_CHANNEL_1) != HAL_OK)
  {
    Error_Handler();
  }
  sConfigIC.ICPolarity = TIM_INPUTCHANNELPOLARITY_FALLING;
  sConfigIC.ICSelection = TIM_ICSELECTION_INDIRECTTI;
  if (HAL_TIM_IC_ConfigChannel(&htim5, &sConfigIC, TIM_CHANNEL_2) != HAL_OK)
  {
    Error_Handler();
  }
  sMasterConfig.MasterOutputTrigger = TIM_TRGO_RESET;
  sMasterConfig.MasterSlaveMode = TIM_MASTERSLAVEMODE_DISABLE;
  if (HAL_TIMEx_MasterConfigSynchronization(&htim5, &sMasterConfig) != HAL_OK)
  {
    Error_Handler();
  }

}

static void MX_TIM8_Init(void)
{

  TIM_ClockConfigTypeDef sClockSourceConfig = {0};
  TIM_SlaveConfigTypeDef sSlaveConfig = {0};
  TIM_IC_InitTypeDef sConfigIC = {0};
  TIM_MasterConfigTypeDef sMasterConfig = {0};

  htim8.Instance = TIM8;
  htim8.Init.Prescaler = 0;
  htim8.Init.CounterMode = TIM_COUNTERMODE_UP;
  htim8.Init.Period = 65535;
  htim8.Init.ClockDivision = TIM_CLOCKDIVISION_DIV1;
  htim8.Init.RepetitionCounter = 0;
  htim8.Init.AutoReloadPreload = TIM_AUTORELOAD_PRELOAD_DISABLE;
  if (HAL_TIM_Base_Init(&htim8) != HAL_OK)
  {
    Error_Handler();
  }
  sClockSourceConfig.ClockSource = TIM_CLOCKSOURCE_INTERNAL;
  if (HAL_TIM_ConfigClockSource(&htim8, &sClockSourceConfig) != HAL_OK)
  {
    Error_Handler();
  }
  if (HAL_TIM_IC_Init(&htim8) != HAL_OK)
  {
    Error_Handler();
  }
  sSlaveConfig.SlaveMode = TIM_SLAVEMODE_RESET;
  sSlaveConfig.InputTrigger = TIM_TS_TI2FP2;
  sSlaveConfig.TriggerPolarity = TIM_INPUTCHANNELPOLARITY_FALLING;
  sSlaveConfig.TriggerPrescaler = TIM_ICPSC_DIV1;
  sSlaveConfig.TriggerFilter = 0;
  if (HAL_TIM_SlaveConfigSynchro(&htim8, &sSlaveConfig) != HAL_OK)
  {
    Error_Handler();
  }
  sConfigIC.ICPolarity = TIM_INPUTCHANNELPOLARITY_RISING;
  sConfigIC.ICSelection = TIM_ICSELECTION_INDIRECTTI;
  sConfigIC.ICPrescaler = TIM_ICPSC_DIV1;
  sConfigIC.ICFilter = 0;
  if (HAL_TIM_IC_ConfigChannel(&htim8, &sConfigIC, TIM_CHANNEL_1) != HAL_OK)
  {
    Error_Handler();
  }
  sConfigIC.ICPolarity = TIM_INPUTCHANNELPOLARITY_FALLING;
  sConfigIC.ICSelection = TIM_ICSELECTION_DIRECTTI;
  if (HAL_TIM_IC_ConfigChannel(&htim8, &sConfigIC, TIM_CHANNEL_2) != HAL_OK)
  {
    Error_Handler();
  }
  sMasterConfig.MasterOutputTrigger = TIM_TRGO_RESET;
  sMasterConfig.MasterSlaveMode = TIM_MASTERSLAVEMODE_DISABLE;
  if (HAL_TIMEx_MasterConfigSynchronization(&htim8, &sMasterConfig) != HAL_OK)
  {
    Error_Handler();
  }

}

static void MX_TIM10_Init(void)
{

  TIM_OC_InitTypeDef sConfigOC = {0};

  htim10.Instance = TIM10;
  htim10.Init.Prescaler = 999;
  htim10.Init.CounterMode = TIM_COUNTERMODE_UP;
  htim10.Init.Period = 1800-1;
  htim10.Init.ClockDivision = TIM_CLOCKDIVISION_DIV1;
  htim10.Init.AutoReloadPreload = TIM_AUTORELOAD_PRELOAD_DISABLE;
  if (HAL_TIM_Base_Init(&htim10) != HAL_OK)
  {
    Error_Handler();
  }
  if (HAL_TIM_PWM_Init(&htim10) != HAL_OK)
  {
    Error_Handler();
  }
  sConfigOC.OCMode = TIM_OCMODE_PWM1;
  sConfigOC.Pulse = 0;
  sConfigOC.OCPolarity = TIM_OCPOLARITY_HIGH;
  sConfigOC.OCFastMode = TIM_OCFAST_DISABLE;
  if (HAL_TIM_PWM_ConfigChannel(&htim10, &sConfigOC, TIM_CHANNEL_1) != HAL_OK)
  {
    Error_Handler();
  }
  HAL_TIM_MspPostInit(&htim10);

}

static void MX_TIM11_Init(void)
{

  TIM_OC_InitTypeDef sConfigOC = {0};

  htim11.Instance = TIM11;
  htim11.Init.Prescaler = 0;
  htim11.Init.CounterMode = TIM_COUNTERMODE_UP;
  htim11.Init.Period = 1800-1;
  htim11.Init.ClockDivision = TIM_CLOCKDIVISION_DIV1;
  htim11.Init.AutoReloadPreload = TIM_AUTORELOAD_PRELOAD_DISABLE;
  if (HAL_TIM_Base_Init(&htim11) != HAL_OK)
  {
    Error_Handler();
  }
  if (HAL_TIM_PWM_Init(&htim11) != HAL_OK)
  {
    Error_Handler();
  }
  sConfigOC.OCMode = TIM_OCMODE_PWM1;
  sConfigOC.Pulse = 0;
  sConfigOC.OCPolarity = TIM_OCPOLARITY_HIGH;
  sConfigOC.OCFastMode = TIM_OCFAST_DISABLE;
  if (HAL_TIM_PWM_ConfigChannel(&htim11, &sConfigOC, TIM_CHANNEL_1) != HAL_OK)
  {
    Error_Handler();
  }
  HAL_TIM_MspPostInit(&htim11);

}

static void MX_TIM12_Init(void)
{

  TIM_ClockConfigTypeDef sClockSourceConfig = {0};
  TIM_SlaveConfigTypeDef sSlaveConfig = {0};
  TIM_IC_InitTypeDef sConfigIC = {0};

  htim12.Instance = TIM12;
  htim12.Init.Prescaler = 16;
  htim12.Init.CounterMode = TIM_COUNTERMODE_UP;
  htim12.Init.Period = 65535;
  htim12.Init.ClockDivision = TIM_CLOCKDIVISION_DIV2;
  htim12.Init.AutoReloadPreload = TIM_AUTORELOAD_PRELOAD_DISABLE;
  if (HAL_TIM_Base_Init(&htim12) != HAL_OK)
  {
    Error_Handler();
  }
  sClockSourceConfig.ClockSource = TIM_CLOCKSOURCE_INTERNAL;
  if (HAL_TIM_ConfigClockSource(&htim12, &sClockSourceConfig) != HAL_OK)
  {
    Error_Handler();
  }
  if (HAL_TIM_IC_Init(&htim12) != HAL_OK)
  {
    Error_Handler();
  }
  sSlaveConfig.SlaveMode = TIM_SLAVEMODE_RESET;
  sSlaveConfig.InputTrigger = TIM_TS_TI1FP1;
  sSlaveConfig.TriggerPolarity = TIM_INPUTCHANNELPOLARITY_RISING;
  sSlaveConfig.TriggerPrescaler = TIM_ICPSC_DIV1;
  sSlaveConfig.TriggerFilter = 0;
  if (HAL_TIM_SlaveConfigSynchro(&htim12, &sSlaveConfig) != HAL_OK)
  {
    Error_Handler();
  }
  sConfigIC.ICPolarity = TIM_INPUTCHANNELPOLARITY_RISING;
  sConfigIC.ICSelection = TIM_ICSELECTION_DIRECTTI;
  sConfigIC.ICPrescaler = TIM_ICPSC_DIV1;
  sConfigIC.ICFilter = 0;
  if (HAL_TIM_IC_ConfigChannel(&htim12, &sConfigIC, TIM_CHANNEL_1) != HAL_OK)
  {
    Error_Handler();
  }
  sConfigIC.ICPolarity = TIM_INPUTCHANNELPOLARITY_FALLING;
  sConfigIC.ICSelection = TIM_ICSELECTION_INDIRECTTI;
  if (HAL_TIM_IC_ConfigChannel(&htim12, &sConfigIC, TIM_CHANNEL_2) != HAL_OK)
  {
    Error_Handler();
  }

}

static void MX_USART2_UART_Init(void)
{

  huart2.Instance = USART2;
  huart2.Init.BaudRate = 115200;
  huart2.Init.WordLength = UART_WORDLENGTH_8B;
  huart2.Init.StopBits = UART_STOPBITS_1;
  huart2.Init.Parity = UART_PARITY_NONE;
  huart2.Init.Mode = UART_MODE_TX_RX;
  huart2.Init.HwFlowCtl = UART_HWCONTROL_NONE;
  huart2.Init.OverSampling = UART_OVERSAMPLING_16;
  if (HAL_UART_Init(&huart2) != HAL_OK)
  {
    Error_Handler();
  }

}

static void MX_DMA_Init(void)
{

  /* DMA controller clock enable */
  __HAL_RCC_DMA2_CLK_ENABLE();

  /* DMA interrupt init */
  /* DMA2_Stream0_IRQn interrupt configuration */
  HAL_NVIC_SetPriority(DMA2_Stream0_IRQn, 0, 0);
  HAL_NVIC_EnableIRQ(DMA2_Stream0_IRQn);

}

static void MX_GPIO_Init(void)
{
  GPIO_InitTypeDef GPIO_InitStruct = {0};

  /* GPIO Ports Clock Enable */
  __HAL_RCC_GPIOC_CLK_ENABLE();
  __HAL_RCC_GPIOH_CLK_ENABLE();
  __HAL_RCC_GPIOA_CLK_ENABLE();
  __HAL_RCC_GPIOB_CLK_ENABLE();

  /*Configure GPIO pin Output Level */
  HAL_GPIO_WritePin(GPIOC, GPIO_PIN_0|GPIO_PIN_1|GPIO_PIN_2, GPIO_PIN_RESET);

  /*Configure GPIO pin : B1_Pin */
  GPIO_InitStruct.Pin = B1_Pin;
  GPIO_InitStruct.Mode = GPIO_MODE_IT_FALLING;
  GPIO_InitStruct.Pull = GPIO_NOPULL;
  HAL_GPIO_Init(B1_GPIO_Port, &GPIO_InitStruct);

  /*Configure GPIO pins : PC0 PC1 PC2 */
  GPIO_InitStruct.Pin = GPIO_PIN_0|GPIO_PIN_1|GPIO_PIN_2;
  GPIO_InitStruct.Mode = GPIO_MODE_OUTPUT_PP;
  GPIO_InitStruct.Pull = GPIO_NOPULL;
  GPIO_InitStruct.Speed = GPIO_SPEED_FREQ_VERY_HIGH;
  HAL_GPIO_Init(GPIOC, &GPIO_InitStruct);

}

/* USER CODE BEGIN 4 */

/**
  * @brief  Retargets the C library printf function to the USART.
  * @param  None
  * @retval None
  */
PUTCHAR_PROTOTYPE
{
  /* Place your implementation of fputc here */
  /* e.g. write a character to the USART1 and Loop until the end of transmission */
  HAL_UART_Transmit(&huart2, (uint8_t *)&ch, 1, 0xFFFF);

  return ch;
}
/* USER CODE END 4 */

void Error_Handler(void)
{
  __disable_irq();
  while (1)
  {
  }
}
